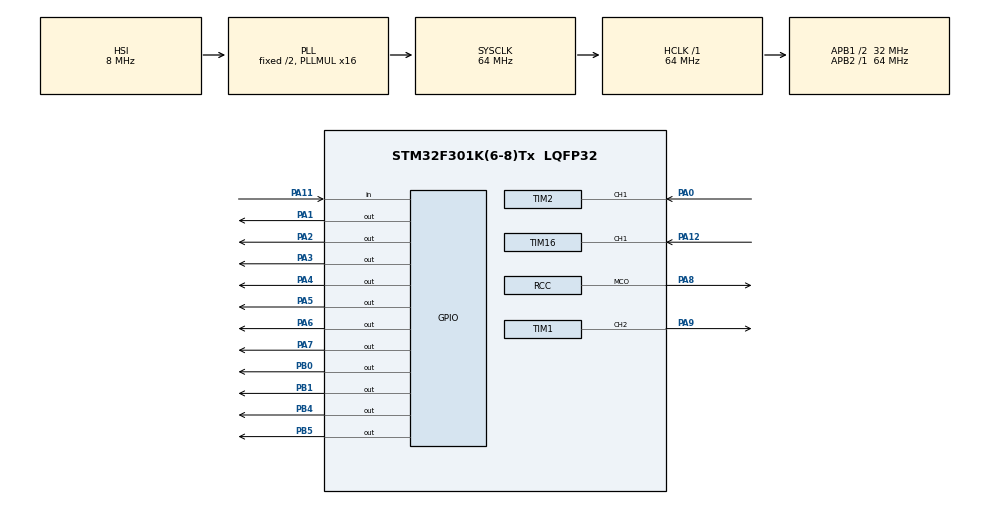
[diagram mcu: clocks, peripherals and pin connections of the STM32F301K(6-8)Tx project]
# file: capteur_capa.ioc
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Mcu.Family=STM32F3
Mcu.Name=STM32F301K(6-8)Tx
Mcu.Package=LQFP32
NVIC.PriorityGroup=NVIC_PRIORITYGROUP_4
NVIC.RCC_IRQn=true\:0\:0\:false\:false\:true\:true\:false\:true
NVIC.TIM1_UP_TIM16_IRQn=true\:0\:0\:false\:false\:true\:true\:true\:true
NVIC.TIM2_IRQn=true\:0\:0\:false\:false\:true\:true\:true\:true
PA0.Signal=S_TIM2_CH1_ETR
PA1.Signal=GPIO_Output
PA11.GPIO_PuPd=GPIO_PULLDOWN
PA11.Signal=GPIO_Input
PA12.Signal=S_TIM16_CH1
PA2.Signal=GPIO_Output
PA3.Signal=GPIO_Output
PA4.Signal=GPIO_Output
PA5.Signal=GPIO_Output
PA6.Signal=GPIO_Output
PA7.Signal=GPIO_Output
PA8.Mode=Clock-out
PA8.Signal=RCC_MCO
PA9.Signal=S_TIM1_CH2
PB0.Signal=GPIO_Output
PB1.Signal=GPIO_Output
PB4.Signal=GPIO_Output
PB5.Signal=GPIO_Output
PF0-OSC_IN.Mode=HSE-External-Oscillator
PF0-OSC_IN.Signal=RCC_OSC_IN
PF1-OSC_OUT.Mode=HSE-External-Oscillator
PF1-OSC_OUT.Signal=RCC_OSC_OUT
ProjectManager.HeapSize=0x200
ProjectManager.StackSize=0x400
ProjectManager.TargetToolchain=STM32CubeIDE
RCC.AHBFreq_Value=64000000
RCC.APB1CLKDivider=RCC_HCLK_DIV2
RCC.APB1Freq_Value=32000000
RCC.APB1TimFreq_Value=64000000
RCC.APB2Freq_Value=64000000
RCC.APB2TimFreq_Value=64000000
RCC.CortexFreq_Value=64000000
RCC.HCLKFreq_Value=64000000
RCC.HSE_VALUE=8000000
RCC.HSI_VALUE=8000000
RCC.PLLMUL=RCC_PLL_MUL16
RCC.SYSCLKFreq_VALUE=64000000
RCC.SYSCLKSourceVirtual=RCC_SYSCLKSOURCE_PLLCLK
SH.S_TIM16_CH1.0=TIM16_CH1,Input_Capture1_from_TI1
SH.S_TIM1_CH2.0=TIM1_CH2,PWM Generation2 CH2
SH.S_TIM2_CH1_ETR.0=TIM2_CH1,Input_Capture1_from_TI1
TIM1.AutoReloadPreload=TIM_AUTORELOAD_PRELOAD_ENABLE
TIM1.Channel-PWM\ Generation2\ CH2=TIM_CHANNEL_2
TIM1.Period=999
TIM1.Prescaler=63
TIM1.Pulse-PWM\ Generation2\ CH2=450
TIM16.AutoReloadPreload=TIM_AUTORELOAD_PRELOAD_ENABLE
TIM16.Channel=TIM_CHANNEL_1
TIM16.Period=999
TIM16.Prescaler=63
TIM2.AutoReloadPreload=TIM_AUTORELOAD_PRELOAD_ENABLE
TIM2.Channel-Input_Capture1_from_TI1=TIM_CHANNEL_1
TIM2.Period=65535
VP_TIM16_VS_ClockSourceINT.Mode=Enable_Timer
VP_TIM1_VS_ClockSourceINT.Mode=Internal
VP_TIM2_VS_ClockSourceINT.Mode=Internal
board=custom

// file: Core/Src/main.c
/* USER CODE BEGIN Header */
/**
  ******************************************************************************
  * @file           : main.c
  * @brief          : Main program body
  ******************************************************************************
  * @attention
  *
  * Copyright (c) 2023 STMicroelectronics.
  * All rights reserved.
  *
  * This software is licensed under terms that can be found in the LICENSE file
  * in the root directory of this software component.
  * If no LICENSE file comes with this software, it is provided AS-IS.
  *
  ******************************************************************************
  */
/* USER CODE END Header */
#include "main.h"

/* USER CODE BEGIN Includes */
#include <stdio.h>
/* USER CODE END Includes */

/* USER CODE BEGIN PD */
#define IDLE   0
#define DONE   1
#define F_CLK  64000000UL
#define SAMPLE_SIZE 10
/* USER CODE END PD */

TIM_HandleTypeDef htim1;
TIM_HandleTypeDef htim2;
TIM_HandleTypeDef htim16;

/* USER CODE BEGIN PV */
uint32_t impulse;
float frequency;
float period;
float capa;
float moving_avg_freq ;
volatile uint8_t State = IDLE;
volatile uint8_t MSG[35] = {'\0'};
volatile uint32_t T1 = 0;
volatile uint32_t T2 = 0;
volatile uint32_t Ticks = 0;
volatile uint16_t TIM2_OVC = 0;
volatile uint32_t Freq= 0;
int touche=0;
int count=0;
int ind_buff;
int cnt_sec=0;
int actif=1;
uint32_t freq_list[SAMPLE_SIZE]={0};
uint32_t freq_sum=0;

/* USER CODE END PV */

void SystemClock_Config(void);
static void MX_GPIO_Init(void);
static void MX_TIM2_Init(void);
static void MX_TIM1_Init(void);
static void MX_TIM16_Init(void);
/* USER CODE BEGIN PFP */
void calcul_capa(void);
float moving_average(uint32_t new_freq);
/* USER CODE END PFP */

/* USER CODE BEGIN 0 */
int counter = 60;
uint8_t temp1, temp2, temp3, temp4;
#define D1_HIGH() HAL_GPIO_WritePin(GPIOB, GPIO_PIN_0, GPIO_PIN_SET)
#define D1_LOW() HAL_GPIO_WritePin(GPIOB, GPIO_PIN_0, GPIO_PIN_RESET)
#define D2_HIGH() HAL_GPIO_WritePin(GPIOB, GPIO_PIN_1, GPIO_PIN_SET)
#define D2_LOW() HAL_GPIO_WritePin(GPIOB, GPIO_PIN_1, GPIO_PIN_RESET)
#define D3_HIGH() HAL_GPIO_WritePin(GPIOB, GPIO_PIN_5, GPIO_PIN_SET)
#define D3_LOW() HAL_GPIO_WritePin(GPIOB, GPIO_PIN_5, GPIO_PIN_RESET)
#define D4_HIGH() HAL_GPIO_WritePin(GPIOB, GPIO_PIN_4, GPIO_PIN_SET)
#define D4_LOW() HAL_GPIO_WritePin(GPIOB, GPIO_PIN_4, GPIO_PIN_RESET)

uint8_t segmentNumber[10] = {
        0x3f,  // 0
        0x06,  // 1
        0x5b,  // 2
        0x4f,  // 3
        0x66,  // 4
        0x6d,  // 5
        0x7d,  // 6
        0x07,  // 7
        0x7f,  // 8
        0x67   // 9
};

void SevenSegment_Update(uint8_t number){
	HAL_GPIO_WritePin(GPIOA, GPIO_PIN_1, ((number>>0)&0x01));
	HAL_GPIO_WritePin(GPIOA, GPIO_PIN_2, ((number>>1)&0x01));
	HAL_GPIO_WritePin(GPIOA, GPIO_PIN_3, ((number>>2)&0x01));
	HAL_GPIO_WritePin(GPIOA, GPIO_PIN_4, ((number>>3)&0x01));
	HAL_GPIO_WritePin(GPIOA, GPIO_PIN_5, ((number>>4)&0x01));
	HAL_GPIO_WritePin(GPIOA, GPIO_PIN_6, ((number>>5)&0x01));
	HAL_GPIO_WritePin(GPIOA, GPIO_PIN_7, ((number>>6)&0x01));
}
/* USER CODE END 0 */

int main(void)
{

  /* MCU Configuration--------------------------------------------------------*/

  /* Reset of all peripherals, Initializes the Flash interface and the Systick. */
  HAL_Init();

  /* Configure the system clock */
  SystemClock_Config();

  /* Initialize all configured peripherals */
  MX_GPIO_Init();
  MX_TIM2_Init();
  MX_TIM1_Init();
  MX_TIM16_Init();
  /* USER CODE BEGIN 2 */
  //HAL_TIM_PWM_Start(&htim2, TIM_CHANNEL_1);
  HAL_TIM_Base_Start_IT(&htim2);
  HAL_TIM_Base_Start_IT(&htim16);
  HAL_TIM_IC_Start_IT(&htim2, TIM_CHANNEL_1);
  HAL_TIM_IC_Start_IT(&htim16, TIM_CHANNEL_1);

  /* USER CODE END 2 */

  /* Infinite loop */
  while (1)
  {

    /* USER CODE BEGIN 3 */
	calcul_capa();
	GPIO_PinState etat = HAL_GPIO_ReadPin(GPIOA, GPIO_PIN_11);
	if(etat == 1){
	  	   actif=0;
	}
	if(actif==1){
		if (counter <= 0) {

					  				int un=1111;
					  				temp1 = un/1000; //1 - 1st digit
					  				temp2 = ((un/100)%10); //2 - 2nd digit
					  				temp3 = ((un/10)%10); //3 - 3rd digit
					  				temp4 = (un%10); //4 - 4th digit

					  				SevenSegment_Update(segmentNumber[temp1]);
					  				D1_LOW();
					  				HAL_Delay(1);
					  				D1_HIGH();
					  				SevenSegment_Update(segmentNumber[temp2]);
					  				D2_LOW();
					  				HAL_Delay(1);
					  				D2_HIGH();
					  				SevenSegment_Update(segmentNumber[temp3]);
					  				D3_LOW();
					  				HAL_Delay(1);
					  				D3_HIGH();
					  				SevenSegment_Update(segmentNumber[temp4]);
					  				D4_LOW();
					  				HAL_Delay(1);
					  				D4_HIGH();
					  	}
		else {
							temp1 = counter/1000; //1 - 1st digit
						  	  temp2 = ((counter/100)%10); //2 - 2nd digit
						  	  temp3 = ((counter/10)%10); //3 - 3rd digit
						  	  temp4 = (counter%10); //4 - 4th digit

						  	  SevenSegment_Update(segmentNumber[temp1]);
						  	  D1_LOW();
						  	  HAL_Delay(1);
						  	  D1_HIGH();

						  	  SevenSegment_Update(segmentNumber[temp2]);
						  	  D2_LOW();
						  	  HAL_Delay(1);
						  	  D2_HIGH();

						  	  SevenSegment_Update(segmentNumber[temp3]);
						  	  D3_LOW();
						  	  HAL_Delay(1);
						  	  D3_HIGH();

						  	  SevenSegment_Update(segmentNumber[temp4]);
						  	  D4_LOW();
						  	  HAL_Delay(1);
						  	  D4_HIGH();
		}

		if(touche==1){
			HAL_TIM_PWM_Start(&htim1, TIM_CHANNEL_2);  // Start PWM motor
		}
		else{
			HAL_TIM_PWM_Stop(&htim1, TIM_CHANNEL_2);  // Start PWM motor
		}

	}
	else{
		int zero=0000;
		temp1 = zero/1000; //1 - 1st digit
		temp2 = ((zero/100)%10); //2 - 2nd digit
		temp3 = ((zero/10)%10); //3 - 3rd digit
		temp4 = (zero%10); //4 - 4th digit

		SevenSegment_Update(segmentNumber[temp1]);
		D1_LOW();
		HAL_Delay(1);
		D1_HIGH();
		SevenSegment_Update(segmentNumber[temp2]);
		D2_LOW();
		HAL_Delay(1);
		D2_HIGH();
		SevenSegment_Update(segmentNumber[temp3]);
		D3_LOW();
		HAL_Delay(1);
		D3_HIGH();
		SevenSegment_Update(segmentNumber[temp4]);
		D4_LOW();
		HAL_Delay(1);
		D4_HIGH();

		HAL_TIM_PWM_Stop(&htim1, TIM_CHANNEL_2);
	}

  }
  /* USER CODE END 3 */
}

void SystemClock_Config(void)
{
  RCC_OscInitTypeDef RCC_OscInitStruct = {0};
  RCC_ClkInitTypeDef RCC_ClkInitStruct = {0};
  RCC_PeriphCLKInitTypeDef PeriphClkInit = {0};

  /** Initializes the RCC Oscillators according to the specified parameters
  * in the RCC_OscInitTypeDef structure.
  */
  RCC_OscInitStruct.OscillatorType = RCC_OSCILLATORTYPE_HSI;
  RCC_OscInitStruct.HSIState = RCC_HSI_ON;
  RCC_OscInitStruct.HSICalibrationValue = RCC_HSICALIBRATION_DEFAULT;
  RCC_OscInitStruct.PLL.PLLState = RCC_PLL_ON;
  RCC_OscInitStruct.PLL.PLLSource = RCC_PLLSOURCE_HSI;
  RCC_OscInitStruct.PLL.PLLMUL = RCC_PLL_MUL16;
  if (HAL_RCC_OscConfig(&RCC_OscInitStruct) != HAL_OK)
  {
    Error_Handler();
  }

  /** Initializes the CPU, AHB and APB buses clocks
  */
  RCC_ClkInitStruct.ClockType = RCC_CLOCKTYPE_HCLK|RCC_CLOCKTYPE_SYSCLK
                              |RCC_CLOCKTYPE_PCLK1|RCC_CLOCKTYPE_PCLK2;
  RCC_ClkInitStruct.SYSCLKSource = RCC_SYSCLKSOURCE_PLLCLK;
  RCC_ClkInitStruct.AHBCLKDivider = RCC_SYSCLK_DIV1;
  RCC_ClkInitStruct.APB1CLKDivider = RCC_HCLK_DIV2;
  RCC_ClkInitStruct.APB2CLKDivider = RCC_HCLK_DIV1;

  if (HAL_RCC_ClockConfig(&RCC_ClkInitStruct, FLASH_LATENCY_2) != HAL_OK)
  {
    Error_Handler();
  }
  PeriphClkInit.PeriphClockSelection = RCC_PERIPHCLK_TIM1|RCC_PERIPHCLK_TIM16;
  PeriphClkInit.Tim1ClockSelection = RCC_TIM1CLK_HCLK;
  PeriphClkInit.Tim16ClockSelection = RCC_TIM16CLK_HCLK;
  if (HAL_RCCEx_PeriphCLKConfig(&PeriphClkInit) != HAL_OK)
  {
    Error_Handler();
  }
  HAL_RCC_MCOConfig(RCC_MCO, RCC_MCO1SOURCE_SYSCLK, RCC_MCODIV_1);
}

static void MX_TIM1_Init(void)
{

  TIM_ClockConfigTypeDef sClockSourceConfig = {0};
  TIM_MasterConfigTypeDef sMasterConfig = {0};
  TIM_OC_InitTypeDef sConfigOC = {0};
  TIM_BreakDeadTimeConfigTypeDef sBreakDeadTimeConfig = {0};

  htim1.Instance = TIM1;
  htim1.Init.Prescaler = 63;
  htim1.Init.CounterMode = TIM_COUNTERMODE_UP;
  htim1.Init.Period = 999;
  htim1.Init.ClockDivision = TIM_CLOCKDIVISION_DIV1;
  htim1.Init.RepetitionCounter = 0;
  htim1.Init.AutoReloadPreload = TIM_AUTORELOAD_PRELOAD_ENABLE;
  if (HAL_TIM_Base_Init(&htim1) != HAL_OK)
  {
    Error_Handler();
  }
  sClockSourceConfig.ClockSource = TIM_CLOCKSOURCE_INTERNAL;
  if (HAL_TIM_ConfigClockSource(&htim1, &sClockSourceConfig) != HAL_OK)
  {
    Error_Handler();
  }
  if (HAL_TIM_PWM_Init(&htim1) != HAL_OK)
  {
    Error_Handler();
  }
  sMasterConfig.MasterOutputTrigger = TIM_TRGO_RESET;
  sMasterConfig.MasterOutputTrigger2 = TIM_TRGO2_RESET;
  sMasterConfig.MasterSlaveMode = TIM_MASTERSLAVEMODE_DISABLE;
  if (HAL_TIMEx_MasterConfigSynchronization(&htim1, &sMasterConfig) != HAL_OK)
  {
    Error_Handler();
  }
  sConfigOC.OCMode = TIM_OCMODE_PWM1;
  sConfigOC.Pulse = 450;
  sConfigOC.OCPolarity = TIM_OCPOLARITY_HIGH;
  sConfigOC.OCNPolarity = TIM_OCNPOLARITY_HIGH;
  sConfigOC.OCFastMode = TIM_OCFAST_DISABLE;
  sConfigOC.OCIdleState = TIM_OCIDLESTATE_RESET;
  sConfigOC.OCNIdleState = TIM_OCNIDLESTATE_RESET;
  if (HAL_TIM_PWM_ConfigChannel(&htim1, &sConfigOC, TIM_CHANNEL_2) != HAL_OK)
  {
    Error_Handler();
  }
  sBreakDeadTimeConfig.OffStateRunMode = TIM_OSSR_DISABLE;
  sBreakDeadTimeConfig.OffStateIDLEMode = TIM_OSSI_DISABLE;
  sBreakDeadTimeConfig.LockLevel = TIM_LOCKLEVEL_OFF;
  sBreakDeadTimeConfig.DeadTime = 0;
  sBreakDeadTimeConfig.BreakState = TIM_BREAK_DISABLE;
  sBreakDeadTimeConfig.BreakPolarity = TIM_BREAKPOLARITY_HIGH;
  sBreakDeadTimeConfig.BreakFilter = 0;
  sBreakDeadTimeConfig.Break2State = TIM_BREAK2_DISABLE;
  sBreakDeadTimeConfig.Break2Polarity = TIM_BREAK2POLARITY_HIGH;
  sBreakDeadTimeConfig.Break2Filter = 0;
  sBreakDeadTimeConfig.AutomaticOutput = TIM_AUTOMATICOUTPUT_DISABLE;
  if (HAL_TIMEx_ConfigBreakDeadTime(&htim1, &sBreakDeadTimeConfig) != HAL_OK)
  {
    Error_Handler();
  }
  HAL_TIM_MspPostInit(&htim1);

}

static void MX_TIM2_Init(void)
{

  TIM_ClockConfigTypeDef sClockSourceConfig = {0};
  TIM_MasterConfigTypeDef sMasterConfig = {0};
  TIM_IC_InitTypeDef sConfigIC = {0};

  htim2.Instance = TIM2;
  htim2.Init.Prescaler = 0;
  htim2.Init.CounterMode = TIM_COUNTERMODE_UP;
  htim2.Init.Period = 65535;
  htim2.Init.ClockDivision = TIM_CLOCKDIVISION_DIV1;
  htim2.Init.AutoReloadPreload = TIM_AUTORELOAD_PRELOAD_ENABLE;
  if (HAL_TIM_Base_Init(&htim2) != HAL_OK)
  {
    Error_Handler();
  }
  sClockSourceConfig.ClockSource = TIM_CLOCKSOURCE_INTERNAL;
  if (HAL_TIM_ConfigClockSource(&htim2, &sClockSourceConfig) != HAL_OK)
  {
    Error_Handler();
  }
  if (HAL_TIM_IC_Init(&htim2) != HAL_OK)
  {
    Error_Handler();
  }
  sMasterConfig.MasterOutputTrigger = TIM_TRGO_RESET;
  sMasterConfig.MasterSlaveMode = TIM_MASTERSLAVEMODE_DISABLE;
  if (HAL_TIMEx_MasterConfigSynchronization(&htim2, &sMasterConfig) != HAL_OK)
  {
    Error_Handler();
  }
  sConfigIC.ICPolarity = TIM_INPUTCHANNELPOLARITY_RISING;
  sConfigIC.ICSelection = TIM_ICSELECTION_DIRECTTI;
  sConfigIC.ICPrescaler = TIM_ICPSC_DIV1;
  sConfigIC.ICFilter = 0;
  if (HAL_TIM_IC_ConfigChannel(&htim2, &sConfigIC, TIM_CHANNEL_1) != HAL_OK)
  {
    Error_Handler();
  }

}

static void MX_TIM16_Init(void)
{

  TIM_IC_InitTypeDef sConfigIC = {0};

  htim16.Instance = TIM16;
  htim16.Init.Prescaler = 63;
  htim16.Init.CounterMode = TIM_COUNTERMODE_UP;
  htim16.Init.Period = 999;
  htim16.Init.ClockDivision = TIM_CLOCKDIVISION_DIV1;
  htim16.Init.RepetitionCounter = 0;
  htim16.Init.AutoReloadPreload = TIM_AUTORELOAD_PRELOAD_ENABLE;
  if (HAL_TIM_Base_Init(&htim16) != HAL_OK)
  {
    Error_Handler();
  }
  if (HAL_TIM_IC_Init(&htim16) != HAL_OK)
  {
    Error_Handler();
  }
  sConfigIC.ICPolarity = TIM_INPUTCHANNELPOLARITY_RISING;
  sConfigIC.ICSelection = TIM_ICSELECTION_DIRECTTI;
  sConfigIC.ICPrescaler = TIM_ICPSC_DIV1;
  sConfigIC.ICFilter = 0;
  if (HAL_TIM_IC_ConfigChannel(&htim16, &sConfigIC, TIM_CHANNEL_1) != HAL_OK)
  {
    Error_Handler();
  }

}

static void MX_GPIO_Init(void)
{
  GPIO_InitTypeDef GPIO_InitStruct = {0};

  /* GPIO Ports Clock Enable */
  __HAL_RCC_GPIOF_CLK_ENABLE();
  __HAL_RCC_GPIOA_CLK_ENABLE();
  __HAL_RCC_GPIOB_CLK_ENABLE();

  /*Configure GPIO pin Output Level */
  HAL_GPIO_WritePin(GPIOA, GPIO_PIN_1|GPIO_PIN_2|GPIO_PIN_3|GPIO_PIN_4
                          |GPIO_PIN_5|GPIO_PIN_6|GPIO_PIN_7, GPIO_PIN_RESET);

  /*Configure GPIO pin Output Level */
  HAL_GPIO_WritePin(GPIOB, GPIO_PIN_0|GPIO_PIN_1|GPIO_PIN_4|GPIO_PIN_5, GPIO_PIN_RESET);

  /*Configure GPIO pins : PA1 PA2 PA3 PA4
                           PA5 PA6 PA7 */
  GPIO_InitStruct.Pin = GPIO_PIN_1|GPIO_PIN_2|GPIO_PIN_3|GPIO_PIN_4
                          |GPIO_PIN_5|GPIO_PIN_6|GPIO_PIN_7;
  GPIO_InitStruct.Mode = GPIO_MODE_OUTPUT_PP;
  GPIO_InitStruct.Pull = GPIO_NOPULL;
  GPIO_InitStruct.Speed = GPIO_SPEED_FREQ_LOW;
  HAL_GPIO_Init(GPIOA, &GPIO_InitStruct);

  /*Configure GPIO pins : PB0 PB1 PB4 PB5 */
  GPIO_InitStruct.Pin = GPIO_PIN_0|GPIO_PIN_1|GPIO_PIN_4|GPIO_PIN_5;
  GPIO_InitStruct.Mode = GPIO_MODE_OUTPUT_PP;
  GPIO_InitStruct.Pull = GPIO_NOPULL;
  GPIO_InitStruct.Speed = GPIO_SPEED_FREQ_LOW;
  HAL_GPIO_Init(GPIOB, &GPIO_InitStruct);

  /*Configure GPIO pin : PA8 */
  GPIO_InitStruct.Pin = GPIO_PIN_8;
  GPIO_InitStruct.Mode = GPIO_MODE_AF_PP;
  GPIO_InitStruct.Pull = GPIO_NOPULL;
  GPIO_InitStruct.Speed = GPIO_SPEED_FREQ_LOW;
  GPIO_InitStruct.Alternate = GPIO_AF0_MCO;
  HAL_GPIO_Init(GPIOA, &GPIO_InitStruct);

  /*Configure GPIO pin : PA11 */
  GPIO_InitStruct.Pin = GPIO_PIN_11;
  GPIO_InitStruct.Mode = GPIO_MODE_INPUT;
  GPIO_InitStruct.Pull = GPIO_PULLDOWN;
  HAL_GPIO_Init(GPIOA, &GPIO_InitStruct);

}

/* USER CODE BEGIN 4 */
void calcul_capa(void) {

	capa = 1/(0.0024*moving_avg_freq*0.001 - 0.0081);

}
float moving_average(uint32_t new_freq) {
    static uint32_t index = 0;  // Index de l'échantillon courant
    freq_sum += new_freq - freq_list[index];
    freq_list[index] = new_freq;
    index = (index + 1) % SAMPLE_SIZE;  // Incrémenter l'index et le ramener à 0 si nécessaire
    return (float)freq_sum / (float)SAMPLE_SIZE;  // Retourner la moyenne glissante
}

void HAL_TIM_IC_CaptureCallback(TIM_HandleTypeDef *htim) {
	if(State == IDLE)
	    {
	        T1 = TIM2->CCR1;
	        TIM2_OVC = 0;
	        State = DONE;
	    }
	    else if(State == DONE)
	    {
			T2 = TIM2->CCR1;
	        Ticks = (T2 + (TIM2_OVC*65536)) - T1;
	        Freq = (uint32_t)(F_CLK/Ticks);
	        if(Freq != 0)
	        {
	          moving_avg_freq = moving_average(gu32_Freq); //eviter le rechargement à 0 du timer qui gene le seuil
	          if(moving_avg_freq<10000){ //seuil
	          		if(count>1000){ //anti rebond
	          			touche= !touche;
	          			count=0;
	          	}
	          }
	        }
	        State = IDLE;
	    }

}

void HAL_TIM_PeriodElapsedCallback(TIM_HandleTypeDef* htim)
{

    if (htim->Instance == TIM2) {
    	TIM2_OVC++;
    }
    if(htim->Instance == TIM16){
    	count++;
    	cnt_sec++;
    	if(cnt_sec==1000){
    		counter = counter -1 ;
    		cnt_sec=0;
    	}
    	if(counter<=0){
    		counter=0;
    	}
    }

}

/* USER CODE END 4 */

void Error_Handler(void)
{
  __disable_irq();
  while (1)
  {
  }
}
